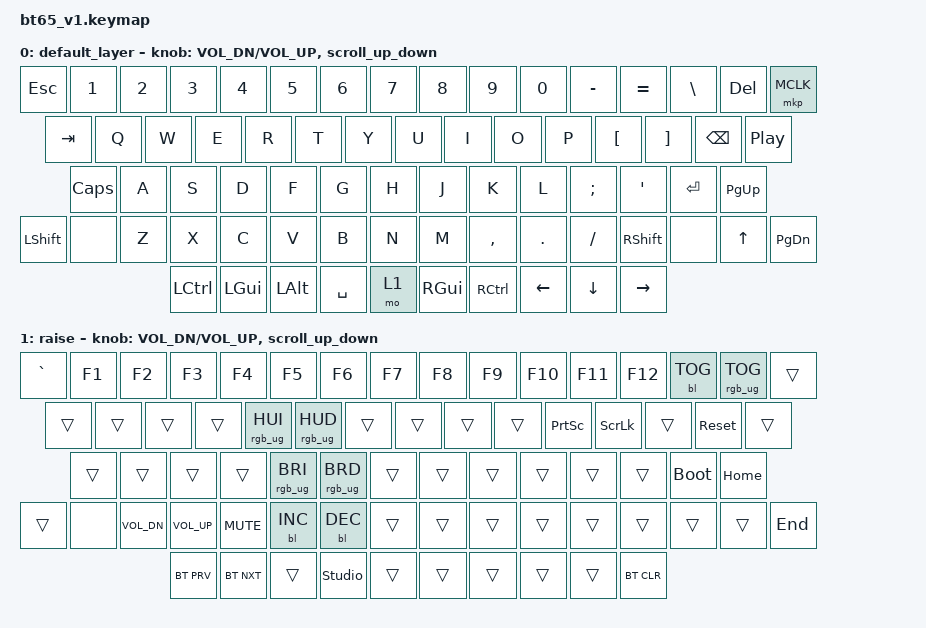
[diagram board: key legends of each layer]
#include <behaviors.dtsi>
#include <dt-bindings/zmk/keys.h>
#include <dt-bindings/zmk/bt.h>
#include <dt-bindings/zmk/rgb.h>
#include <dt-bindings/zmk/backlight.h>

#define ZMK_POINTING_DEFAULT_SCRL_VAL 140

#include <dt-bindings/zmk/pointing.h>


/ {
  chosen {
    zmk,physical-layout = &layout_65_all1u;
  };

  behaviors {
        scroll_up_down: scroll_up_down {
            compatible = "zmk,behavior-sensor-rotate";
            #sensor-binding-cells = <0>;
            bindings = <&msc SCRL_UP>, <&msc SCRL_DOWN>;
            tap-ms = <20>;
        };
    };

  keymap {
    compatible = "zmk,keymap";
    default_layer {
        // -------------------------------------------------------------------------------------------------
        // | ESC |  1  |  2  |  3  |  4  |  5  |  6  |  7  |  8  |  9  |  0  |  -  |  =  |  \  | DEL | MCLK|
        // | TAB    |  Q  |  W  |  E  |  R  |  T  |  Y  |  U  |  I  |  O  |  P  |  [  |  ]  |  BSPC  | PP  |
        // | CAPS    |  A  |  S  |  D  |  F  |  G  |  H  |  J  |  K  |  L  |  ;  |  '  |     ENTER   | PGUP|
        // |SHIFT|NONE |  Z  |  X  |  C  |  V  |  B  |  N  |  M  |  ,  |  .  |  /  |SHIFT|NONE |  UP | PGDN|
        // |  CTL  |  WIN  |  ALT  |              SPACE                | FN |  WIN |RCTRL| LEFT| DOWN|RIGHT|
        // -------------------------------------------------------------------------------------------------
      bindings = <
        &kp ESC &kp N1 &kp N2 &kp N3 &kp N4 &kp N5 &kp N6 &kp N7 &kp  N8   &kp  N9 &kp  N0  &kp MINUS &kp EQUAL &kp BSLH &kp DEL &mkp MCLK
        &kp TAB  &kp Q  &kp W  &kp E  &kp R  &kp T  &kp Y  &kp U  &kp  I    &kp  O  &kp  P   &kp LBKT &kp RBKT  &kp BSPC &kp C_PLAY_PAUSE
        &kp CLCK  &kp A  &kp S  &kp D  &kp F  &kp G  &kp H  &kp J  &kp  K    &kp  L  &kp SEMI &kp SQT           &kp RET &kp PG_UP
        &kp LSHFT &none  &kp Z  &kp X  &kp C  &kp V  &kp B  &kp N  &kp M  &kp COMMA &kp DOT &kp FSLH    &kp RSHFT &none   &kp UP &kp PG_DN
        &kp LCTRL &kp LGUI &kp LALT            &kp SPACE                         &mo 1 &kp RGUI &kp RCTRL &kp LEFT &kp DOWN &kp RIGHT
      >;
      sensor-bindings = <&inc_dec_kp C_VOL_DN C_VOL_UP &scroll_up_down>;
    };
    raise {
        // --------------------------------------------------------------------------------------------------
        // |GRAVE| F1  | F2  | F3  | F4  | F5  | F6  | F7  | F8  | F9  | F10 | F11 | F12 |BL_TOG|RGB_TOG|HOME|
        // | TAB  |  Q  |  W  |  E  | HUI | HUD |  Y  |  U  |  I  |  O  | PSCRN | SLCK |  ]  |  RESET  | PP  |
        // | CAPS  |  A  |  S  |  D  | BRI | BRD |  H  |  J  |  K  |  L  |  ;  |  '  |      BOOT      | HOME |
        // |SHIFT| NONE|VOLDN|VOLUP| MUTE|BLINC|BLDEC|  N  |  M  |  ,  |  .  |  /  |SHIFT| NONE|  UP |  END  |
        // | BT_PRV| BT_NXT|  ALT  |         STUDIO_UNLOCK             | ALT |  1  | CTRL| LEFT| DOWN |BT_CLR|
        // --------------------------------------------------------------------------------------------------
      bindings = <
        &kp GRAVE &kp F1 &kp F2 &kp F3 &kp F4 &kp F5 &kp F6 &kp F7 &kp F8 &kp F9 &kp F10 &kp F11 &kp F12 &bl BL_TOG &rgb_ug RGB_TOG &trans
        &trans &trans &trans &trans &rgb_ug RGB_HUI &rgb_ug RGB_HUD &trans &trans &trans &trans &kp PSCRN &kp SLCK &trans &sys_reset &trans
        &trans   &trans &trans &trans &rgb_ug RGB_BRI &rgb_ug RGB_BRD &trans &trans &trans &trans &trans  &trans  &bootloader &kp HOME
        &trans &none &kp C_VOL_DN &kp C_VOL_UP &kp C_MUTE &bl BL_INC &bl BL_DEC &trans &trans &trans &trans &trans &trans  &trans &trans &kp END
        &bt BT_PRV &bt BT_NXT  &trans              &studio_unlock                        &trans   &trans   &trans &trans &trans &bt BT_CLR
      >;
      sensor-bindings = <&inc_dec_kp C_VOL_DN C_VOL_UP &scroll_up_down>;
    };  
  };
};
